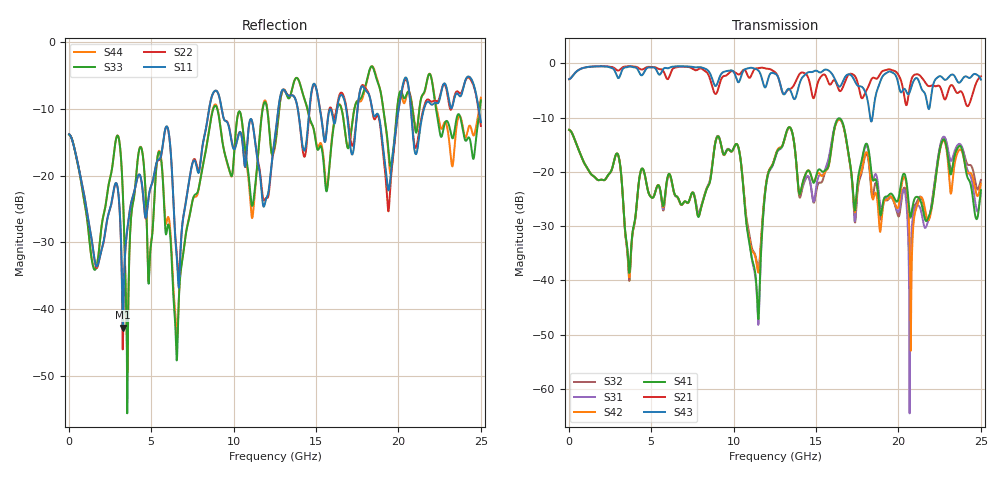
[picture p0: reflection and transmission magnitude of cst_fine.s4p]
! R_s4_rect_2v: Finite board 24 × 16 mm, two vias L1 → L4 9.9 mm apart sharing the L2/L3 cavity, no return via
! stackup: 4-layer 1.6 mm FR-4
! ports: 1 L1, 2 L4, 3 L1, 4 L4
! CST Studio Suite 2025.5 Release from 2025-05-30, time domain (FIT, hexahedral, PBA), 721500 mesh cells, 349 s
! mesh: {'lpw': 30.0, 'lpb': 30.0, 'minstep': 0.0, 'ratio': 20}; ports: port 1 (face); port 2 (face); port 3 (face); port 4 (face)
! interpolated from CST's 1001 samples to the case grid
# Hz S RI R 50
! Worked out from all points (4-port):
!   1000 points, 25 MHz to 25 GHz, reference 50 ohm
!   strongest paths, dB at 25 MHz, 6.275 GHz, 12.53 GHz, 18.77 GHz, 25 GHz:
!     S43: -2.9, -0.6, -1.9, -4.4, -3.0
!     S21: -2.9, -1.2, -1.6, -2.5, -2.4
!     S41: -12.2, -22.1, -17.2, -24.1, -23.4
!     S42: -12.2, -22.1, -17.1, -27.1, -22.2
!     S31: -12.2, -22.2, -17.4, -22.6, -23.7
!     S32: -12.2, -22.2, -17.2, -24.6, -21.5
!   lowest |S11| = -42.8 dB at 3.275 GHz (marker M1), VSWR 1.01, Z = 50.5 - j0.481 ohm
!   |S11| at or under -10 dB: start of sweep to 8.516 GHz; 9.28 GHz to 12.71 GHz (3.432 GHz wide, 31.2 % of centre); 18.41 GHz to 20.01 GHz (1.601 GHz wide, 8.33 % of centre) (the widest 3 of 8)
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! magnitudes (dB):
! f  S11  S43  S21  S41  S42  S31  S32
! 25 MHz  -13.8  -2.9  -2.9  -12.2  -12.2  -12.2  -12.2
! 3.275 GHz  -42.8  -1.0  -0.7  -24.1  -24.2  -24.2  -24.2
! 6.525 GHz  -31.4  -0.6  -0.7  -24.4  -24.5  -24.5  -24.5
! 8.85 GHz  -7.3  -4.0  -5.5  -15.4  -15.4  -15.2  -15.2
! 11.47 GHz  -17.9  -1.2  -0.9  -46.1  -38.4  -47.0  -37.7
! 13.35 GHz  -8.0  -4.7  -4.8  -11.8  -11.8  -11.8  -11.9
! 25 GHz  -12.0  -3.0  -2.4  -23.4  -22.2  -23.7  -21.5
